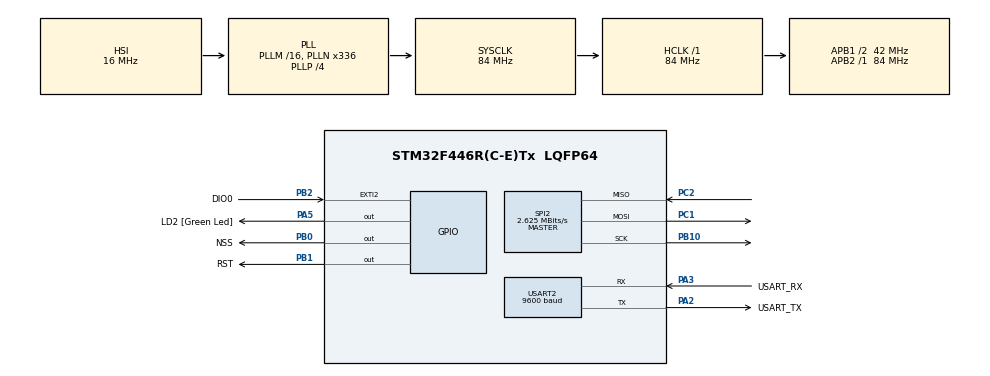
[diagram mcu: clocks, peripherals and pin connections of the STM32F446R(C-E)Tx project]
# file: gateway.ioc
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Mcu.Family=STM32F4
Mcu.Name=STM32F446R(C-E)Tx
Mcu.Package=LQFP64
NVIC.PriorityGroup=NVIC_PRIORITYGROUP_0
NVIC.USART2_IRQn=true\:0\:0\:false\:false\:true\:true\:true
PA13.GPIO_Label=TMS
PA13.Mode=Serial_Wire
PA13.Signal=SYS_JTMS-SWDIO
PA14.GPIO_Label=TCK
PA14.Mode=Serial_Wire
PA14.Signal=SYS_JTCK-SWCLK
PA2.GPIO_Label=USART_TX
PA2.Mode=Asynchronous
PA2.Signal=USART2_TX
PA3.GPIO_Label=USART_RX
PA3.Mode=Asynchronous
PA3.Signal=USART2_RX
PA5.GPIO_Label=LD2 [Green Led]
PA5.Signal=GPIO_Output
PB0.GPIO_Label=NSS
PB0.PinState=GPIO_PIN_SET
PB0.Signal=GPIO_Output
PB1.GPIO_Label=RST
PB1.PinState=GPIO_PIN_SET
PB1.Signal=GPIO_Output
PB10.Mode=Full_Duplex_Master
PB10.Signal=SPI2_SCK
PB2.GPIO_Label=DIO0
PB2.Signal=GPXTI2
PB3.GPIO_Label=SWO
PB3.Signal=SYS_JTDO-SWO
PC1.Mode=Full_Duplex_Master
PC1.Signal=SPI2_MOSI
PC14-OSC32_IN.Mode=LSE-External-Oscillator
PC14-OSC32_IN.Signal=RCC_OSC32_IN
PC15-OSC32_OUT.Mode=LSE-External-Oscillator
PC15-OSC32_OUT.Signal=RCC_OSC32_OUT
PC2.Mode=Full_Duplex_Master
PC2.Signal=SPI2_MISO
PH0-OSC_IN.Mode=HSE-External-Oscillator
PH0-OSC_IN.Signal=RCC_OSC_IN
PH1-OSC_OUT.Mode=HSE-External-Oscillator
PH1-OSC_OUT.Signal=RCC_OSC_OUT
ProjectManager.HeapSize=0x200
ProjectManager.StackSize=0x400
ProjectManager.TargetToolchain=STM32CubeIDE
RCC.48MHZClocksFreq_Value=84000000
RCC.AHBFreq_Value=84000000
RCC.APB1CLKDivider=RCC_HCLK_DIV2
RCC.APB1Freq_Value=42000000
RCC.APB1TimFreq_Value=84000000
RCC.APB2Freq_Value=84000000
RCC.APB2TimFreq_Value=84000000
RCC.CortexFreq_Value=84000000
RCC.FLatency-AdvancedSettings=FLASH_LATENCY_2
RCC.HCLKFreq_Value=84000000
RCC.HSE_VALUE=8000000
RCC.HSI_VALUE=16000000
RCC.PLLN=336
RCC.PLLP=RCC_PLLP_DIV4
RCC.SYSCLKFreq_VALUE=84000000
RCC.SYSCLKSource=RCC_SYSCLKSOURCE_PLLCLK
RCC.USBFreq_Value=168000000
RCC.VCOOutputFreq_Value=336000000
SPI2.BaudRatePrescaler=SPI_BAUDRATEPRESCALER_16
SPI2.CLKPolarity=SPI_POLARITY_LOW
SPI2.CalculateBaudRate=2.625 MBits/s
SPI2.DataSize=SPI_DATASIZE_8BIT
SPI2.Direction=SPI_DIRECTION_2LINES
SPI2.Mode=SPI_MODE_MASTER
SPI2.VirtualType=VM_MASTER
USART2.BaudRate=9600
USART2.VirtualMode=VM_ASYNC
board=NUCLEO-F446RE

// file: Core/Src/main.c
/* USER CODE BEGIN Header */
/**
  ******************************************************************************
  * @file           : main.c
  * @brief          : Main program body
  ******************************************************************************
  * @attention
  *
  * <h2><center>&copy; Copyright (c) 2021 STMicroelectronics.
  * All rights reserved.</center></h2>
  *
  * This software component is licensed by ST under BSD 3-Clause license,
  * the "License"; You may not use this file except in compliance with the
  * License. You may obtain a copy of the License at:
  *                        opensource.org/licenses/BSD-3-Clause
  *
  ******************************************************************************
  */
/* USER CODE END Header */
#include "main.h"

/* USER CODE BEGIN Includes */
#include "LoRa.h"
/* USER CODE END Includes */

SPI_HandleTypeDef hspi2;

UART_HandleTypeDef huart2;

/* USER CODE BEGIN PV */
LoRa myLoRa;
uint8_t LoRa_stat = 0;
//UART Variables
uint8_t actionCode;
uint8_t rxdata;
uint8_t ack;
/* USER CODE END PV */

void SystemClock_Config(void);
static void MX_GPIO_Init(void);
static void MX_USART2_UART_Init(void);
static void MX_SPI2_Init(void);
/* USER CODE BEGIN PFP */
static void MX_LoRa_Init(void);
/* USER CODE END PFP */

int main(void)
{

  /* MCU Configuration--------------------------------------------------------*/

  /* Reset of all peripherals, Initializes the Flash interface and the Systick. */
  HAL_Init();

  /* Configure the system clock */
  SystemClock_Config();

  /* Initialize all configured peripherals */
  MX_GPIO_Init();
  MX_USART2_UART_Init();
  MX_SPI2_Init();
  /* USER CODE BEGIN 2 */
  MX_LoRa_Init();

  /* USER CODE END 2 */

  /* Infinite loop */
  /* USER CODE BEGIN WHILE */
  //uint8_t counter = 0;

  HAL_GPIO_WritePin(LD2_GPIO_Port, LD2_Pin, GPIO_PIN_RESET);
  while (1)
  {
    /* USER CODE END WHILE */

    /* USER CODE BEGIN 3 */
	//HAL_UART_Receive_IT(&huart2, &rxdata, 10);
	HAL_UART_Receive(&huart2, &rxdata, 8, 10);
	HAL_Delay(200);
	switch(rxdata){
	case 33:
		if ((HAL_GPIO_ReadPin(LD2_GPIO_Port, LD2_Pin)) == GPIO_PIN_SET)
		{
			HAL_GPIO_WritePin(LD2_GPIO_Port, LD2_Pin, GPIO_PIN_RESET);
		} else {
			HAL_GPIO_WritePin(LD2_GPIO_Port, LD2_Pin, GPIO_PIN_SET);
		}
		HAL_Delay(200);
		rxdata = 0;
	break;

	case 55:
		if(LoRa_stat == 1){
		  actionCode = 55;
		  LoRa_transmit(&myLoRa,  &actionCode , sizeof(actionCode), 100);
		  HAL_Delay(1000);
		}
		HAL_Delay(200);
		rxdata = 0;
	break;

	case 56: //more light
		if(LoRa_stat == 1){
		  actionCode = 56;
		  LoRa_transmit(&myLoRa,  &actionCode , sizeof(actionCode), 100);
		  HAL_Delay(1000);
		}
		HAL_Delay(200);
		rxdata = 0;
	break;

	case 57: //less light
		if(LoRa_stat == 1){
		  actionCode = 57;
		  LoRa_transmit(&myLoRa,  &actionCode , sizeof(actionCode), 100);
		  HAL_Delay(1000);
		}
		HAL_Delay(200);
		rxdata = 0;
	break;

	default:
		rxdata = 0;
	}
  }

  /* USER CODE END 3 */
}

void SystemClock_Config(void)
{
  RCC_OscInitTypeDef RCC_OscInitStruct = {0};
  RCC_ClkInitTypeDef RCC_ClkInitStruct = {0};

  /** Configure the main internal regulator output voltage
  */
  __HAL_RCC_PWR_CLK_ENABLE();
  __HAL_PWR_VOLTAGESCALING_CONFIG(PWR_REGULATOR_VOLTAGE_SCALE3);
  /** Initializes the RCC Oscillators according to the specified parameters
  * in the RCC_OscInitTypeDef structure.
  */
  RCC_OscInitStruct.OscillatorType = RCC_OSCILLATORTYPE_HSI;
  RCC_OscInitStruct.HSIState = RCC_HSI_ON;
  RCC_OscInitStruct.HSICalibrationValue = RCC_HSICALIBRATION_DEFAULT;
  RCC_OscInitStruct.PLL.PLLState = RCC_PLL_ON;
  RCC_OscInitStruct.PLL.PLLSource = RCC_PLLSOURCE_HSI;
  RCC_OscInitStruct.PLL.PLLM = 16;
  RCC_OscInitStruct.PLL.PLLN = 336;
  RCC_OscInitStruct.PLL.PLLP = RCC_PLLP_DIV4;
  RCC_OscInitStruct.PLL.PLLQ = 2;
  RCC_OscInitStruct.PLL.PLLR = 2;
  if (HAL_RCC_OscConfig(&RCC_OscInitStruct) != HAL_OK)
  {
    Error_Handler();
  }
  /** Initializes the CPU, AHB and APB buses clocks
  */
  RCC_ClkInitStruct.ClockType = RCC_CLOCKTYPE_HCLK|RCC_CLOCKTYPE_SYSCLK
                              |RCC_CLOCKTYPE_PCLK1|RCC_CLOCKTYPE_PCLK2;
  RCC_ClkInitStruct.SYSCLKSource = RCC_SYSCLKSOURCE_PLLCLK;
  RCC_ClkInitStruct.AHBCLKDivider = RCC_SYSCLK_DIV1;
  RCC_ClkInitStruct.APB1CLKDivider = RCC_HCLK_DIV2;
  RCC_ClkInitStruct.APB2CLKDivider = RCC_HCLK_DIV1;

  if (HAL_RCC_ClockConfig(&RCC_ClkInitStruct, FLASH_LATENCY_2) != HAL_OK)
  {
    Error_Handler();
  }
}

static void MX_SPI2_Init(void)
{

  /* SPI2 parameter configuration*/
  hspi2.Instance = SPI2;
  hspi2.Init.Mode = SPI_MODE_MASTER;
  hspi2.Init.Direction = SPI_DIRECTION_2LINES;
  hspi2.Init.DataSize = SPI_DATASIZE_8BIT;
  hspi2.Init.CLKPolarity = SPI_POLARITY_LOW;
  hspi2.Init.CLKPhase = SPI_PHASE_1EDGE;
  hspi2.Init.NSS = SPI_NSS_SOFT;
  hspi2.Init.BaudRatePrescaler = SPI_BAUDRATEPRESCALER_16;
  hspi2.Init.FirstBit = SPI_FIRSTBIT_MSB;
  hspi2.Init.TIMode = SPI_TIMODE_DISABLE;
  hspi2.Init.CRCCalculation = SPI_CRCCALCULATION_DISABLE;
  hspi2.Init.CRCPolynomial = 10;
  if (HAL_SPI_Init(&hspi2) != HAL_OK)
  {
    Error_Handler();
  }

}

static void MX_USART2_UART_Init(void)
{

  huart2.Instance = USART2;
  huart2.Init.BaudRate = 9600;
  huart2.Init.WordLength = UART_WORDLENGTH_8B;
  huart2.Init.StopBits = UART_STOPBITS_1;
  huart2.Init.Parity = UART_PARITY_NONE;
  huart2.Init.Mode = UART_MODE_TX_RX;
  huart2.Init.HwFlowCtl = UART_HWCONTROL_NONE;
  huart2.Init.OverSampling = UART_OVERSAMPLING_16;
  if (HAL_UART_Init(&huart2) != HAL_OK)
  {
    Error_Handler();
  }

}

static void MX_GPIO_Init(void)
{
  GPIO_InitTypeDef GPIO_InitStruct = {0};

  /* GPIO Ports Clock Enable */
  __HAL_RCC_GPIOC_CLK_ENABLE();
  __HAL_RCC_GPIOH_CLK_ENABLE();
  __HAL_RCC_GPIOA_CLK_ENABLE();
  __HAL_RCC_GPIOB_CLK_ENABLE();

  /*Configure GPIO pin Output Level */
  HAL_GPIO_WritePin(LD2_GPIO_Port, LD2_Pin, GPIO_PIN_RESET);

  /*Configure GPIO pin Output Level */
  HAL_GPIO_WritePin(GPIOB, NSS_Pin|RST_Pin, GPIO_PIN_SET);

  /*Configure GPIO pin : LD2_Pin */
  GPIO_InitStruct.Pin = LD2_Pin;
  GPIO_InitStruct.Mode = GPIO_MODE_OUTPUT_PP;
  GPIO_InitStruct.Pull = GPIO_NOPULL;
  GPIO_InitStruct.Speed = GPIO_SPEED_FREQ_LOW;
  HAL_GPIO_Init(LD2_GPIO_Port, &GPIO_InitStruct);

  /*Configure GPIO pins : NSS_Pin RST_Pin */
  GPIO_InitStruct.Pin = NSS_Pin|RST_Pin;
  GPIO_InitStruct.Mode = GPIO_MODE_OUTPUT_PP;
  GPIO_InitStruct.Pull = GPIO_NOPULL;
  GPIO_InitStruct.Speed = GPIO_SPEED_FREQ_LOW;
  HAL_GPIO_Init(GPIOB, &GPIO_InitStruct);

  /*Configure GPIO pin : DIO0_Pin */
  GPIO_InitStruct.Pin = DIO0_Pin;
  GPIO_InitStruct.Mode = GPIO_MODE_IT_RISING;
  GPIO_InitStruct.Pull = GPIO_NOPULL;
  HAL_GPIO_Init(DIO0_GPIO_Port, &GPIO_InitStruct);

}

/* USER CODE BEGIN 4 */
static void MX_LoRa_Init(void)
{

  myLoRa = newLoRa();

  myLoRa.hSPIx           		= &hspi2;
  myLoRa.CS_port         		= NSS_GPIO_Port;
  myLoRa.CS_pin          		= NSS_Pin;
  myLoRa.reset_port      		= RST_GPIO_Port;
  myLoRa.reset_pin       		= RST_Pin;
  myLoRa.DIO0_port       		= DIO0_GPIO_Port;
  myLoRa.DIO0_pin        		= DIO0_Pin;

  myLoRa.frequency             	= 433;             // default = 433 MHz
  myLoRa.spredingFactor        	= SF_7;            // default = SF_7
  myLoRa.bandWidth             	= BW_125KHz;       // default = BW_125KHz
  myLoRa.crcRate               	= CR_4_5;          // default = CR_4_5
  myLoRa.power                 	= POWER_17db;      // default = 20db
  myLoRa.overCurrentProtection 	= 100;             // default = 100 mA
  myLoRa.preamble              	= 8;              // default = 8;

  LoRa_reset(&myLoRa);

  if(LoRa_init(&myLoRa) == LORA_OK){
	  LoRa_stat = 1;
  }
}

void HAL_UART_RxCpltCallback(UART_HandleTypeDef *huart)
{
 __NOP();
}

/* USER CODE END 4 */

void Error_Handler(void)
{
  __disable_irq();
  while (1)
  {
  }
}

/************************ (C) COPYRIGHT STMicroelectronics *****END OF FILE****/
